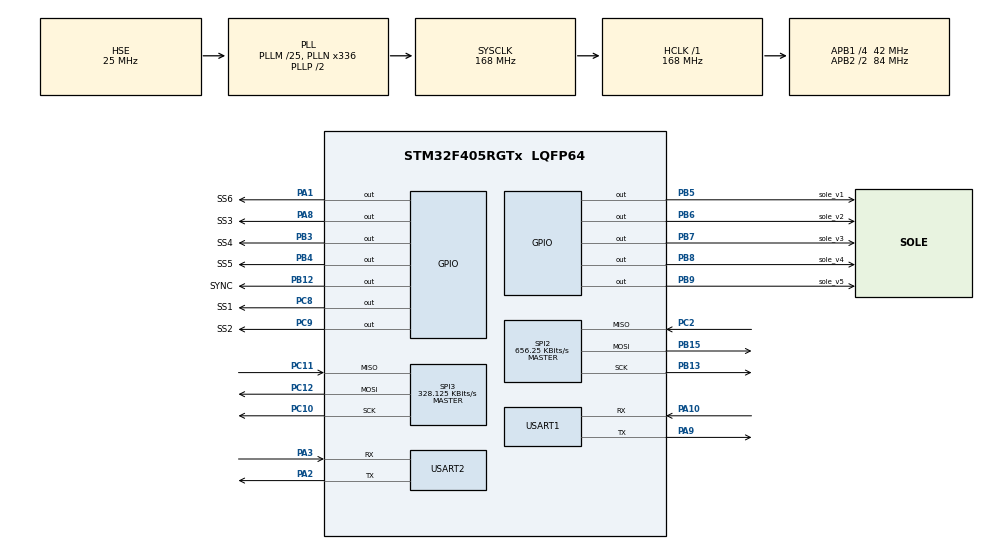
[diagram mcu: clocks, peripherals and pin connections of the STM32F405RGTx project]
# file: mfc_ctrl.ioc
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Dma.Request0=USART1_RX
Dma.Request1=USART1_TX
Dma.USART1_RX.0.Direction=DMA_PERIPH_TO_MEMORY
Dma.USART1_RX.0.FIFOMode=DMA_FIFOMODE_DISABLE
Dma.USART1_RX.0.Instance=DMA2_Stream2
Dma.USART1_RX.0.MemDataAlignment=DMA_MDATAALIGN_BYTE
Dma.USART1_RX.0.MemInc=DMA_MINC_ENABLE
Dma.USART1_RX.0.Mode=DMA_NORMAL
Dma.USART1_RX.0.PeriphDataAlignment=DMA_PDATAALIGN_BYTE
Dma.USART1_RX.0.PeriphInc=DMA_PINC_DISABLE
Dma.USART1_RX.0.Priority=DMA_PRIORITY_LOW
Dma.USART1_TX.1.Direction=DMA_MEMORY_TO_PERIPH
Dma.USART1_TX.1.FIFOMode=DMA_FIFOMODE_DISABLE
Dma.USART1_TX.1.Instance=DMA2_Stream7
Dma.USART1_TX.1.MemDataAlignment=DMA_MDATAALIGN_BYTE
Dma.USART1_TX.1.MemInc=DMA_MINC_ENABLE
Dma.USART1_TX.1.Mode=DMA_NORMAL
Dma.USART1_TX.1.PeriphDataAlignment=DMA_PDATAALIGN_BYTE
Dma.USART1_TX.1.PeriphInc=DMA_PINC_DISABLE
Dma.USART1_TX.1.Priority=DMA_PRIORITY_LOW
FREERTOS.Tasks01=defaultTask,24,256,StartDefaultTask,Default,NULL,Dynamic,NULL,NULL
FREERTOS.configCHECK_FOR_STACK_OVERFLOW=1
FREERTOS.configENABLE_FPU=1
FREERTOS.configGENERATE_RUN_TIME_STATS=1
FREERTOS.configMINIMAL_STACK_SIZE=256
FREERTOS.configUSE_NEWLIB_REENTRANT=1
Mcu.Family=STM32F4
Mcu.Name=STM32F405RGTx
Mcu.Package=LQFP64
NVIC.DMA2_Stream2_IRQn=true\:5\:0\:false\:false\:true\:true\:false\:true\:true
NVIC.DMA2_Stream7_IRQn=true\:5\:0\:false\:false\:true\:true\:false\:true\:true
NVIC.PriorityGroup=NVIC_PRIORITYGROUP_4
NVIC.TIM6_DAC_IRQn=true\:15\:0\:false\:false\:true\:false\:false\:true\:true
NVIC.TimeBase=TIM6_DAC_IRQn
NVIC.TimeBaseIP=TIM6
NVIC.USART1_IRQn=true\:5\:0\:false\:false\:true\:true\:true\:true\:true
NVIC.USART2_IRQn=true\:5\:0\:false\:false\:true\:true\:true\:true\:true
PA1.GPIO_Label=SS6
PA1.Signal=GPIO_Output
PA10.Mode=Asynchronous
PA10.Signal=USART1_RX
PA2.Mode=Asynchronous
PA2.Signal=USART2_TX
PA3.Mode=Asynchronous
PA3.Signal=USART2_RX
PA8.GPIO_Label=SS3
PA8.Signal=GPIO_Output
PA9.Mode=Asynchronous
PA9.Signal=USART1_TX
PB12.GPIO_Label=SYNC
PB12.Signal=GPIO_Output
PB13.Mode=Full_Duplex_Master
PB13.Signal=SPI2_SCK
PB15.Mode=Full_Duplex_Master
PB15.Signal=SPI2_MOSI
PB3.GPIO_Label=SS4
PB3.Signal=GPIO_Output
PB4.GPIO_Label=SS5
PB4.Signal=GPIO_Output
PB5.GPIO_Label=sole_v1
PB5.Signal=GPIO_Output
PB6.GPIO_Label=sole_v2
PB6.Signal=GPIO_Output
PB7.GPIO_Label=sole_v3
PB7.Signal=GPIO_Output
PB8.GPIO_Label=sole_v4
PB8.Signal=GPIO_Output
PB9.GPIO_Label=sole_v5
PB9.Signal=GPIO_Output
PC10.Mode=Full_Duplex_Master
PC10.Signal=SPI3_SCK
PC11.Mode=Full_Duplex_Master
PC11.Signal=SPI3_MISO
PC12.Mode=Full_Duplex_Master
PC12.Signal=SPI3_MOSI
PC2.Mode=Full_Duplex_Master
PC2.Signal=SPI2_MISO
PC8.GPIO_Label=SS1
PC8.Signal=GPIO_Output
PC9.GPIO_Label=SS2
PC9.Signal=GPIO_Output
PH0-OSC_IN.Mode=HSE-External-Oscillator
PH0-OSC_IN.Signal=RCC_OSC_IN
PH1-OSC_OUT.Mode=HSE-External-Oscillator
PH1-OSC_OUT.Signal=RCC_OSC_OUT
ProjectManager.HeapSize=0x200
ProjectManager.StackSize=0x400
ProjectManager.TargetToolchain=STM32CubeIDE
RCC.48MHZClocksFreq_Value=84000000
RCC.AHBFreq_Value=168000000
RCC.APB1CLKDivider=RCC_HCLK_DIV4
RCC.APB1Freq_Value=42000000
RCC.APB1TimFreq_Value=84000000
RCC.APB2CLKDivider=RCC_HCLK_DIV2
RCC.APB2Freq_Value=84000000
RCC.APB2TimFreq_Value=168000000
RCC.CortexFreq_Value=168000000
RCC.HCLKFreq_Value=168000000
RCC.HSE_VALUE=25000000
RCC.HSI_VALUE=16000000
RCC.LSE_VALUE=32768
RCC.PLLM=25
RCC.PLLN=336
RCC.PLLSourceVirtual=RCC_PLLSOURCE_HSE
RCC.SYSCLKFreq_VALUE=168000000
RCC.SYSCLKSource=RCC_SYSCLKSOURCE_PLLCLK
RCC.VCOOutputFreq_Value=336000000
SPI2.BaudRatePrescaler=SPI_BAUDRATEPRESCALER_64
SPI2.CLKPolarity=SPI_POLARITY_HIGH
SPI2.CalculateBaudRate=656.25 KBits/s
SPI2.Direction=SPI_DIRECTION_2LINES
SPI2.Mode=SPI_MODE_MASTER
SPI2.VirtualType=VM_MASTER
SPI3.BaudRatePrescaler=SPI_BAUDRATEPRESCALER_128
SPI3.CalculateBaudRate=328.125 KBits/s
SPI3.Direction=SPI_DIRECTION_2LINES
SPI3.Mode=SPI_MODE_MASTER
SPI3.VirtualType=VM_MASTER
USART1.VirtualMode=VM_ASYNC
USART2.VirtualMode=VM_ASYNC
VP_FREERTOS_VS_CMSIS_V2.Mode=CMSIS_V2
VP_SYS_VS_tim6.Mode=TIM6
VP_TIM3_VS_ClockSourceINT.Mode=Internal
VP_TIM4_VS_ClockSourceINT.Mode=Internal
board=custom

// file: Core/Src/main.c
/* USER CODE BEGIN Header */
/**
  ******************************************************************************
  * @file           : main.c
  * @brief          : Main program body
  ******************************************************************************
  * @attention
  *
  * Copyright (c) 2025 STMicroelectronics.
  * All rights reserved.
  *
  * This software is licensed under terms that can be found in the LICENSE file
  * in the root directory of this software component.
  * If no LICENSE file comes with this software, it is provided AS-IS.
  *
  ******************************************************************************
  */
/* USER CODE END Header */
#include "main.h"
#include "cmsis_os.h"
#include "dma.h"
#include "spi.h"
#include "tim.h"
#include "usart.h"
#include "gpio.h"

/* USER CODE BEGIN Includes */
#include "debug_shell.h"
#include "propo_valve_drive.h"
#include "sol_valve_control.h"
#include "hsc_spi.h"
#include "hsc_conv.h"
#include "press_control.h"
#include "shell_commands_register.h"
#include "modbus_slave.h"
/* USER CODE END Includes */

void SystemClock_Config(void);
void MX_FREERTOS_Init(void);

int main(void)
{

  /* MCU Configuration--------------------------------------------------------*/

  /* Reset of all peripherals, Initializes the Flash interface and the Systick. */
  HAL_Init();

  /* Configure the system clock */
  SystemClock_Config();

  /* Initialize all configured peripherals */
  MX_GPIO_Init();
  MX_DMA_Init();
  MX_TIM3_Init();
  MX_TIM4_Init();
  MX_SPI2_Init();
  MX_SPI3_Init();
  MX_USART1_UART_Init();
  MX_USART2_UART_Init();
  /* USER CODE BEGIN 2 */
  /* First: PressCtrl_Init() reads the stored PI parameters out of flash, and on
   * the rare boot where it has to compact the parameter sector that erase
   * stalls the whole CPU for up to 2 s. Doing it before the UARTs are armed
   * keeps that stall away from the Modbus link. */
  PressCtrl_Init();

  Shell_Init();
  MB_Slave_Init();
  HSC_Init();
  PropoValveDrive_Init();
  SOL_Init();
  registerDebugCommands();

  /* USER CODE END 2 */

  /* Init scheduler */
  osKernelInitialize();  /* Call init function for freertos objects (in cmsis_os2.c) */
  MX_FREERTOS_Init();

  /* Start scheduler */
  osKernelStart();

  /* We should never get here as control is now taken by the scheduler */

  /* Infinite loop */
  while (1)
  {

  }
}

void SystemClock_Config(void)
{
  RCC_OscInitTypeDef RCC_OscInitStruct = {0};
  RCC_ClkInitTypeDef RCC_ClkInitStruct = {0};

  /** Configure the main internal regulator output voltage
  */
  __HAL_RCC_PWR_CLK_ENABLE();
  __HAL_PWR_VOLTAGESCALING_CONFIG(PWR_REGULATOR_VOLTAGE_SCALE1);

  /** Initializes the RCC Oscillators according to the specified parameters
  * in the RCC_OscInitTypeDef structure.
  */
  RCC_OscInitStruct.OscillatorType = RCC_OSCILLATORTYPE_HSE;
  RCC_OscInitStruct.HSEState = RCC_HSE_ON;
  RCC_OscInitStruct.PLL.PLLState = RCC_PLL_ON;
  RCC_OscInitStruct.PLL.PLLSource = RCC_PLLSOURCE_HSE;
  RCC_OscInitStruct.PLL.PLLM = 25;
  RCC_OscInitStruct.PLL.PLLN = 336;
  RCC_OscInitStruct.PLL.PLLP = RCC_PLLP_DIV2;
  RCC_OscInitStruct.PLL.PLLQ = 4;
  if (HAL_RCC_OscConfig(&RCC_OscInitStruct) != HAL_OK)
  {
    Error_Handler();
  }

  /** Initializes the CPU, AHB and APB buses clocks
  */
  RCC_ClkInitStruct.ClockType = RCC_CLOCKTYPE_HCLK|RCC_CLOCKTYPE_SYSCLK
                              |RCC_CLOCKTYPE_PCLK1|RCC_CLOCKTYPE_PCLK2;
  RCC_ClkInitStruct.SYSCLKSource = RCC_SYSCLKSOURCE_PLLCLK;
  RCC_ClkInitStruct.AHBCLKDivider = RCC_SYSCLK_DIV1;
  RCC_ClkInitStruct.APB1CLKDivider = RCC_HCLK_DIV4;
  RCC_ClkInitStruct.APB2CLKDivider = RCC_HCLK_DIV2;

  if (HAL_RCC_ClockConfig(&RCC_ClkInitStruct, FLASH_LATENCY_5) != HAL_OK)
  {
    Error_Handler();
  }
}

void HAL_TIM_PeriodElapsedCallback(TIM_HandleTypeDef *htim)
{
  if (htim->Instance == TIM6)
  {
    HAL_IncTick();
  }
}

void Error_Handler(void)
{
  __disable_irq();
  while (1)
  {
  }
}

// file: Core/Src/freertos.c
/* USER CODE BEGIN Header */
/**
  ******************************************************************************
  * File Name          : freertos.c
  * Description        : Code for freertos applications
  ******************************************************************************
  * @attention
  *
  * Copyright (c) 2025 STMicroelectronics.
  * All rights reserved.
  *
  * This software is licensed under terms that can be found in the LICENSE file
  * in the root directory of this software component.
  * If no LICENSE file comes with this software, it is provided AS-IS.
  *
  ******************************************************************************
  */
/* USER CODE END Header */

#include "FreeRTOS.h"
#include "task.h"
#include "main.h"
#include "cmsis_os.h"

/* USER CODE BEGIN Includes */
#include "debug_shell.h"
#include "press_control.h"
#include "modbus_slave.h"
/* USER CODE END Includes */

/* Definitions for defaultTask */
osThreadId_t defaultTaskHandle;
const osThreadAttr_t defaultTask_attributes = {
  .name = "defaultTask",
  .stack_size = 256 * 4,
  .priority = (osPriority_t) osPriorityNormal,
};

void StartDefaultTask(void *argument);

void MX_FREERTOS_Init(void); /* (MISRA C 2004 rule 8.1) */

/* Hook prototypes */
void configureTimerForRunTimeStats(void);
unsigned long getRunTimeCounterValue(void);
void vApplicationStackOverflowHook(xTaskHandle xTask, signed char *pcTaskName);

/* USER CODE BEGIN 1 */
/* Functions needed when configGENERATE_RUN_TIME_STATS is on */
__weak void configureTimerForRunTimeStats(void)
{

}

__weak unsigned long getRunTimeCounterValue(void)
{
return 0;
}
/* USER CODE END 1 */

/* USER CODE BEGIN 4 */
void vApplicationStackOverflowHook(xTaskHandle xTask, signed char *pcTaskName)
{
   /* Run time stack overflow checking is performed if
   configCHECK_FOR_STACK_OVERFLOW is defined to 1 or 2. This hook function is
   called if a stack overflow is detected. */
}
/* USER CODE END 4 */

void MX_FREERTOS_Init(void) {

  /* Create the thread(s) */
  /* creation of defaultTask */
  defaultTaskHandle = osThreadNew(StartDefaultTask, NULL, &defaultTask_attributes);

  /* USER CODE BEGIN RTOS_THREADS */
  /* add threads, ... */
  Shell_StartDebugTask();

  MB_Slave_StartTask();
  PressCtrl_StartTask();
  /* USER CODE END RTOS_THREADS */

}

void StartDefaultTask(void *argument)
{
  for(;;)
  {
    osDelay(1);
  }
}
